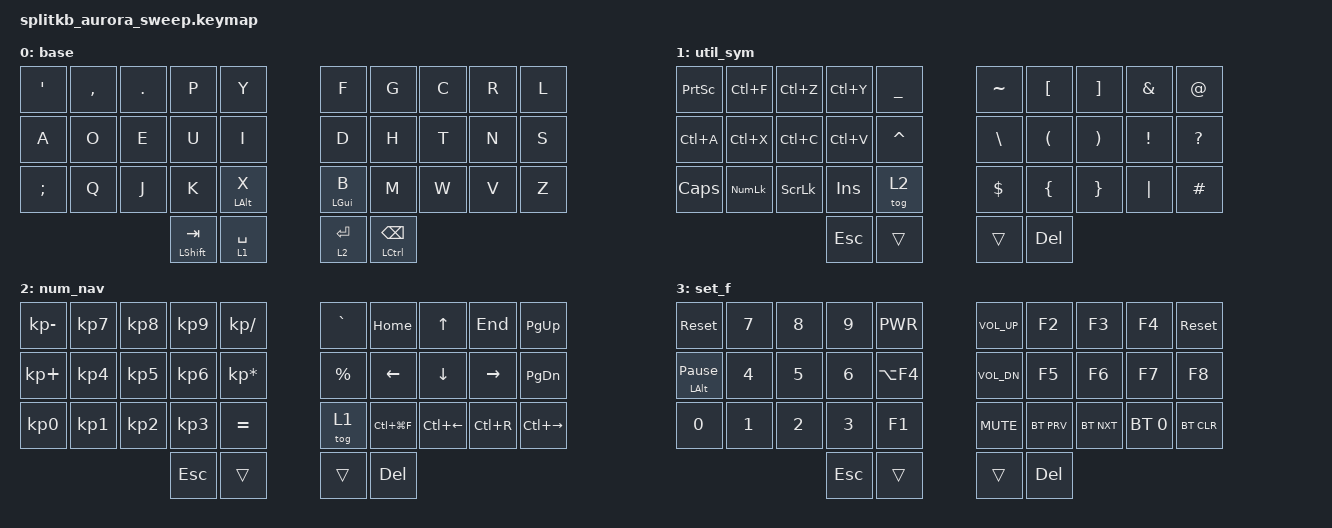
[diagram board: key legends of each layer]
/*
 * Copyright (c) 2022 The ZMK Contributors
 *
 * SPDX-License-Identifier: MIT
 *
 * Brent notes: double tap the reset button to put it in the mode to load firmware
 */

#include <behaviors.dtsi>
#include <dt-bindings/zmk/keys.h>
#include <dt-bindings/zmk/bt.h>


&mt {
  flavor = "tap-preferred";
  tapping_term_ms = <150>;
};

/ {
    conditional_layers {
        compatible = "zmk,conditional-layers";
        tri_layer {
            if-layers = <1 2>;
            then-layer = <3>;
        };
    };
};

/ {

    combos {
        compatible = "zmk,combos";
        combo_util_sym_tog {
            timeout-ms = <50>;
            key-positions = <30 31>;
            bindings = <&tog 1>;
        };



        combo_num_nav_tog {
            timeout-ms = <50>;
            key-positions = <32 33>;
            bindings = <&tog 2>;
        };

    };

        keymap {
                compatible = "zmk,keymap";

            base {
            // -----------------------------------------------------------------------------------------
            // |  Q  |  W  |  E  |  R  |  T  |   |  Y  |  U   |  I  |  O  |  P  |
            // |  A  |  S  |  D  |  F  |  G  |   |  H  |  J   |  K  |  L  |  ;  |
            // |  Z  |  X  |  C  |  V  |  B  |   |  N  |  M   |  ,  |  .  |  /  |
            //                   | LWR | SPC |   | ENT | RSE  |

            label = "base";
        bindings = <
        &kp SQT   &kp COMMA  &kp PERIOD  &kp P  &kp Y                       &kp F       &kp G  &kp C   &kp R  &kp L
        &kp A     &kp O      &kp E       &kp U  &kp I                       &kp D       &kp H  &kp T   &kp N  &kp S
        &kp SEMI  &kp Q      &kp J       &kp K  &mt LALT X                  &mt LGUI B  &kp M  &kp W   &kp V  &kp Z
                            &mt LSHFT TAB  &lt 1 SPACE                     &lt 2 RET  &mt LCTRL BSPC
        >;
        };

            util_sym {
            label = "util_sym";
        bindings = <
        &kp PSCRN  &kp LC(F)    &kp LC(Z)  &kp LC(Y)  &kp UNDER            &kp TILDE  &kp LBKT  &kp RBKT  &kp AMPS  &kp AT
        &kp LC(A)  &kp LC(X)    &kp LC(C)  &kp LC(V)  &kp CARET            &kp BSLH   &kp LPAR  &kp RPAR  &kp EXCL  &kp QMARK
        &kp CAPS   &kp KP_NUM   &kp SLCK   &kp INS    &tog 2               &kp DLLR   &kp LBRC  &kp RBRC  &kp PIPE  &kp HASH
                                          &kp ESC  &trans                 &trans  &kp DEL
        >;
        };

            num_nav {
            label = "num_nav";
        bindings = <
        &kp KP_MINUS  &kp KP_N7  &kp KP_N8  &kp KP_N9  &kp KP_DIVIDE         &kp GRAVE   &kp HOME      &kp UP        &kp END    &kp PG_UP
        &kp KP_PLUS   &kp KP_N4  &kp KP_N5  &kp KP_N6  &kp KP_MULTIPLY       &kp PRCNT   &kp LEFT      &kp DOWN      &kp RIGHT  &kp PG_DN
        &kp KP_N0     &kp KP_N1  &kp KP_N2  &kp KP_N3  &kp EQUAL             &tog 1      &kp LC(LG(F))  &kp LC(LEFT)  &kp LC(R)  &kp LC(RIGHT)
                                           &kp ESC  &trans                  &trans &kp DEL
        >;
        };

            set_f {
            label = "set_f";
        bindings = <
        &sys_reset           &kp N7  &kp N8  &kp N9  &kp C_PWR             &kp C_VOL_UP &kp F2      &kp F3      &kp F4        &sys_reset
        &mt LALT PAUSE_BREAK &kp N4  &kp N5  &kp N6  &kp LA(F4)            &kp C_VOL_DN &kp F5      &kp F6      &kp F7        &kp F8
        &kp N0               &kp N1  &kp N2  &kp N3  &kp F1                &kp C_MUTE   &bt BT_PRV  &bt BT_NXT  &bt BT_SEL 0  &bt BT_CLR
                                            &kp ESC  &trans                 &trans  &kp DEL
        >;
        };

    };
};
